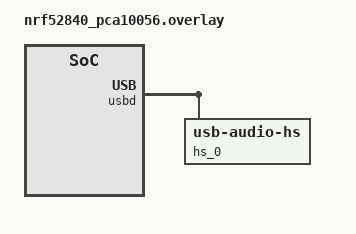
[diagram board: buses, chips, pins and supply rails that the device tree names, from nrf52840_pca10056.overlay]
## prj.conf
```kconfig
CONFIG_STDOUT_CONSOLE=y

#USB related configs
CONFIG_USB=y
CONFIG_USB_DEVICE_STACK=y
CONFIG_USB_DEVICE_PRODUCT="Zephyr USB audio sample"

#LOG subsystem related configs
CONFIG_LOG=y
CONFIG_LOG_DEFAULT_LEVEL=4
CONFIG_LOG_BUFFER_SIZE=8192
CONFIG_USB_DRIVER_LOG_LEVEL_ERR=y
CONFIG_USB_DEVICE_LOG_LEVEL_ERR=y
CONFIG_USB_AUDIO_LOG_LEVEL_ERR=y

#net buf options
CONFIG_NET_BUF=y
CONFIG_NET_BUF_USER_DATA_SIZE=4

#USB audio related configs
CONFIG_USB_DEVICE_AUDIO=y
CONFIG_USB_AUDIO_HEADSET_DEVICE_COUNT=1
```

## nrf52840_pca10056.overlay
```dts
/*
 * Copyright (c) 2019 Nordic Semiconductor ASA
 *
 * SPDX-License-Identifier: Apache-2.0
 */

&usbd {
	hs_0 {
		compatible = "usb-audio-hs";
		feature-mute;
		channel-l;
		channel-r;
		ep-addr-mic = <0x88>;
		ep-addr-hp = <0x08>;
		resolution-mic = <16>;
		resolution-hp = <16>;
	};
};
```

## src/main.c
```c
/*
 * Copyright (c) 2020 Nordic Semiconductor ASA
 *
 * SPDX-License-Identifier: Apache-2.0
 */

/**
 * @file
 * @brief Sample app for Audio class
 */

#include <zephyr.h>
#include <logging/log.h>
#include <usb/usb_device.h>
#include <usb/class/usb_audio.h>

LOG_MODULE_REGISTER(main, LOG_LEVEL_INF);

static void data_received(const struct device *dev,
			  struct net_buf *buffer,
			  size_t size)
{
	int ret;

	if (!buffer || !size) {
		/* This should never happen */
		return;
	}

	LOG_DBG("Received %d data, unref %p", size, buffer);

	ret = usb_audio_send(dev, buffer, size);
	if (ret) {
		/* In case HOST is not accepting data drop it */
		net_buf_unref(buffer);
	}
}

static void feature_update(struct feature_unit_evt evt)
{
	LOG_DBG("Control selector %d for channel %d updated",
		evt.cs, evt.channel);
	switch (evt.cs) {
	case MUTE_CONTROL:
	default:
		break;
	}
}

static const struct audio_ops ops = {
	.data_received_cb = data_received,
	.feature_update_cb = feature_update,
};

void main(void)
{
	struct device *hs_dev;
	int ret;

	hs_dev = device_get_binding("AUDIO_HS_0");

	if (!hs_dev) {
		LOG_ERR("Can not get USB Headset Device");
		return;
	}

	usb_audio_register(hs_dev, &ops);

	ret = usb_enable(NULL);
	if (ret != 0) {
		LOG_ERR("Failed to enable USB");
		return;
	}

	LOG_INF("Entered %s", __func__);
}
```
